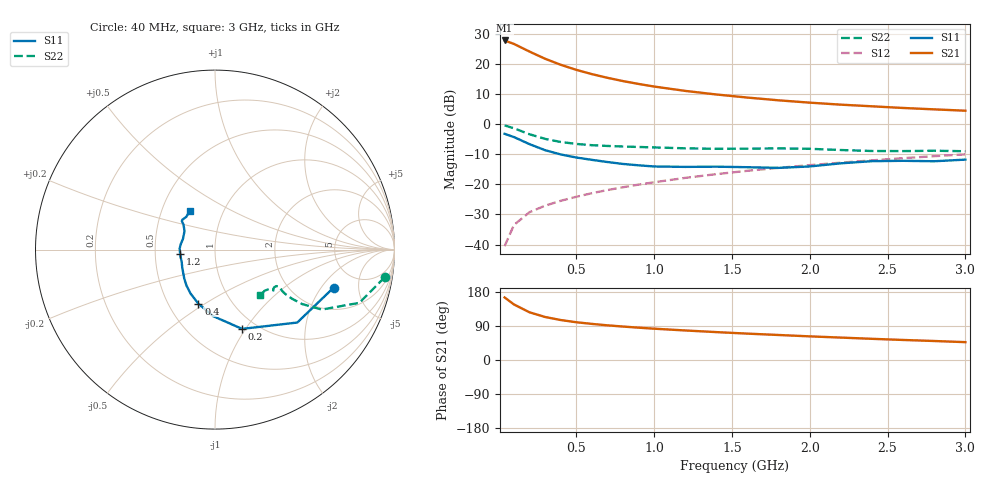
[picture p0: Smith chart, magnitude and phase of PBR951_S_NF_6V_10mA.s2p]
! Filename:  PBR951N.S2P  Version:  3.0
! Philips part #:  PBR951  Date: July 1998
! Bias condition:  Vce=6V, Ic=10mA
#  MHz  S  MA  R 50
! Freq  S11  S21  S12  S22
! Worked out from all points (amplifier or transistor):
!   21 points, 40 MHz to 3 GHz, reference 50 ohm
!   highest |S21| = 27.9 dB at 40 MHz (marker M1)
!   |S21| within 3 dB of that: start of sweep to 172.6 MHz
!   unconditionally stable (mu >= 1): 903.1 MHz to 2.295 GHz
!   at 300 MHz: K = 0.69, MSG = 24.4 dB, |S12| = -27.1 dB
!   at 1 GHz: K = 1.02, MAG = 15.1 dB, |S12| = -19.3 dB
!   at 3 GHz: K = 0.96, MSG = 7.3 dB, |S12| = -10.0 dB
!   lowest NFmin = 1.37 dB at 500 MHz
!   S11 on the Smith chart (normalised r, x): 40 MHz: 3.24, -2.65; 200 MHz: 0.85, -0.96; 400 MHz: 0.70, -0.47; 1.2 GHz: 0.67, -0.04; 3 GHz: 0.69, +0.32
40  0.6939 -17.8  24.73 165.1  0.009407 82.3  0.9582 -9.3
100  0.6126 -41.5  21.65 146.6  0.02117 72.7  0.8571 -20.2
200  0.4669 -71.1  16.16 125.8  0.03453 66.2  0.6822 -29.3
300  0.3709 -91.6  12.28 113.5  0.04428 65.4  0.5718 -32.0
400  0.3152 -107.1  9.758 105.5  0.05339 66.4  0.5083 -32.5
500  0.2802 -119.1  8.038 99.7  0.06225 67.9  0.4711 -32.3
600  0.2563 -128.2  6.822 95.3  0.07136 69.4  0.4491 -32.0
700  0.2357 -136.5  5.924 91.5  0.08058 70.7  0.4361 -31.4
800  0.2191 -144.1  5.227 88.3  0.08965 71.7  0.4271 -30.9
900  0.2078 -151.3  4.683 85.3  0.09919 72.4  0.4193 -30.4
1000  0.1988 -158.9  4.239 82.7  0.1086 72.9  0.4121 -30.1
1200  0.1957 -172.3  3.588 77.9  0.1284 73.4  0.3984 -30.7
1400  0.1972 178.3  3.128 73.6  0.1482 73.7  0.3908 -32.5
1600  0.1933 171.2  2.779 69.6  0.1685 73.8  0.393 -34.4
1800  0.1884 160.7  2.501 66.0  0.1887 73.5  0.3975 -35.0
2000  0.1989 148.6  2.287 62.4  0.2091 72.9  0.391 -34.9
2200  0.2243 141.5  2.118 59.1  0.23 72.2  0.3732 -36.0
2400  0.2435 139.4  1.989 55.9  0.2511 71.4  0.3593 -39.5
2600  0.2468 137.7  1.866 52.9  0.2731 70.8  0.358 -43.9
2800  0.2427 131.2  1.769 50.1  0.295 69.6  0.363 -45.9
3000  0.2584 122.6  1.68 47.1  0.3164 68.6  0.3562 -45.4
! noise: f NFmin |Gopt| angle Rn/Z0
500  1.373  0.136  45.91  0.172
800  1.379  0.142  93.14  0.188
900  1.471  0.147  95.4  0.147
1000  1.443  0.166  99.37  0.163
1500  1.746  0.235  149.8  0.092
2000  2.214  0.352  -141.8  0.152
